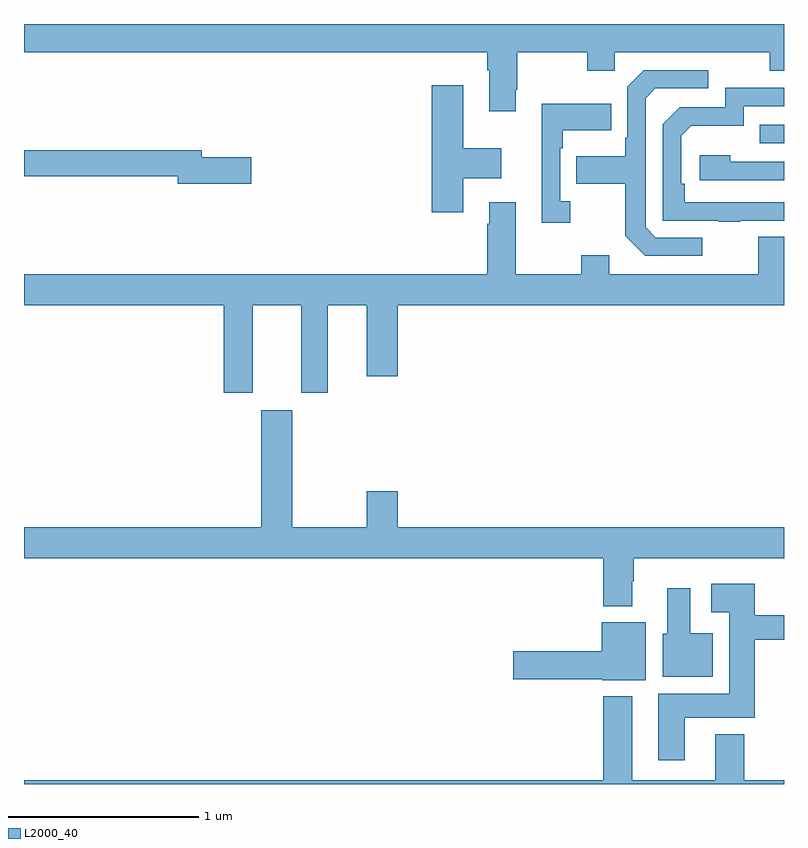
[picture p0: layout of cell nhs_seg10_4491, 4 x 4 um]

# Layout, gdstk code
import gdstk
lib = gdstk.Library(unit=1e-6, precision=1e-09)
def R(c, l, rs):  # rectangles x0, y0, x1, y1
    for r in rs: c.add(gdstk.rectangle(r[:2], r[2:], *l))
def P(c, l, *ps):  # polygons
    for p in ps: c.add(gdstk.Polygon(p, *l))
L2000_40 = (2000, 40)

nhs_seg10_4491 = lib.new_cell('nhs_seg10_4491')
R(nhs_seg10_4491, L2000_40, [(370.873,1263.873,371,1263.969)])
P(nhs_seg10_4491, L2000_40, [(369.589,1264.153),(369.597,1264.153),(369.597,1264.352),(369.964,1264.352),(369.964,1264.253),(370.11,1264.253),(370.11,1264.352),(370.924,1264.352),(370.924,1264.253),(371,1264.253),(371,1264.5),(367,1264.5),(367,1264.352),(369.437,1264.352),(369.437,1264.256),(369.449,1264.256),(369.449,1264.041),(369.589,1264.041)],
  [(370.57,1263.375),(370.326,1263.375),(370.272,1263.429),(370.272,1264.11),(370.323,1264.161),(370.6,1264.161),(370.6,1264.257),(370.263,1264.257),(370.176,1264.17),(370.176,1263.901),(370.164,1263.901),(370.164,1263.805),(369.907,1263.805),(369.907,1263.658),(370.164,1263.658),(370.164,1263.385),(370.269,1263.279),(370.57,1263.279)],
  [(369.313,1263.689),(369.511,1263.689),(369.511,1263.847),(369.313,1263.847),(369.313,1264.177),(369.146,1264.177),(369.146,1263.51),(369.313,1263.51)],
  [(370.769,1263.465),(371,1263.465),(371,1263.561),(370.478,1263.561),(370.478,1263.658),(370.458,1263.658),(370.458,1263.912),(370.511,1263.965),(370.788,1263.965),(370.788,1264.068),(371,1264.068),(371,1264.164),(370.692,1264.164),(370.692,1264.062),(370.452,1264.062),(370.362,1263.972),(370.362,1263.465),(370.657,1263.465),(370.657,1263.46),(370.769,1263.46)],
  [(369.874,1263.566),(369.822,1263.566),(369.822,1263.845),(369.835,1263.845),(369.835,1263.941),(370.091,1263.941),(370.091,1264.081),(369.725,1264.081),(369.725,1263.453),(369.874,1263.453)],
  [(368.197,1263.8),(367.936,1263.8),(367.936,1263.836),(367,1263.836),(367,1263.7),(367.808,1263.7),(367.808,1263.658),(368.197,1263.658)],
  [(371,1263.774),(370.718,1263.774),(370.718,1263.808),(370.557,1263.808),(370.557,1263.678),(371,1263.678)],
  [(368.203,1263.02),(368.459,1263.02),(368.459,1262.559),(368.599,1262.559),(368.599,1263.02),(368.804,1263.02),(368.804,1262.646),(368.968,1262.646),(368.968,1263.02),(371,1263.02),(371,1263.379),(370.865,1263.379),(370.865,1263.184),(370.081,1263.184),(370.081,1263.283),(369.934,1263.283),(369.934,1263.184),(369.589,1263.184),(369.589,1263.562),(369.449,1263.562),(369.449,1263.449),(369.437,1263.449),(369.437,1263.184),(367,1263.184),(367,1263.02),(368.051,1263.02),(368.051,1262.559),(368.203,1262.559)],
  [(370.201,1261.568),(370.209,1261.568),(370.209,1261.688),(371,1261.688),(371,1261.852),(368.968,1261.852),(368.968,1262.041),(368.804,1262.041),(368.804,1261.852),(368.413,1261.852),(368.413,1262.467),(368.249,1262.467),(368.249,1261.852),(367,1261.852),(367,1261.688),(370.049,1261.688),(370.049,1261.436),(370.201,1261.436)],
  [(370.477,1260.848),(370.847,1260.848),(370.847,1261.258),(371,1261.258),(371,1261.387),(370.847,1261.387),(370.847,1261.555),(370.617,1261.555),(370.617,1261.403),(370.712,1261.403),(370.712,1260.976),(370.337,1260.976),(370.337,1260.624),(370.477,1260.624)],
  [(370.624,1261.294),(370.507,1261.294),(370.507,1261.531),(370.385,1261.531),(370.385,1261.29),(370.361,1261.29),(370.361,1261.064),(370.624,1261.064)],
  [(370.273,1261.351),(370.04,1261.351),(370.04,1261.199),(369.576,1261.199),(369.576,1261.052),(370.044,1261.052),(370.044,1261.046),(370.273,1261.046)],
  [(371,1260.52),(370.79,1260.52),(370.79,1260.763),(370.637,1260.763),(370.637,1260.52),(370.201,1260.52),(370.201,1260.961),(370.049,1260.961),(370.049,1260.52),(367,1260.52),(367,1260.5),(371,1260.5)])

lib.write_gds('nhs_seg10_4491.gds')
